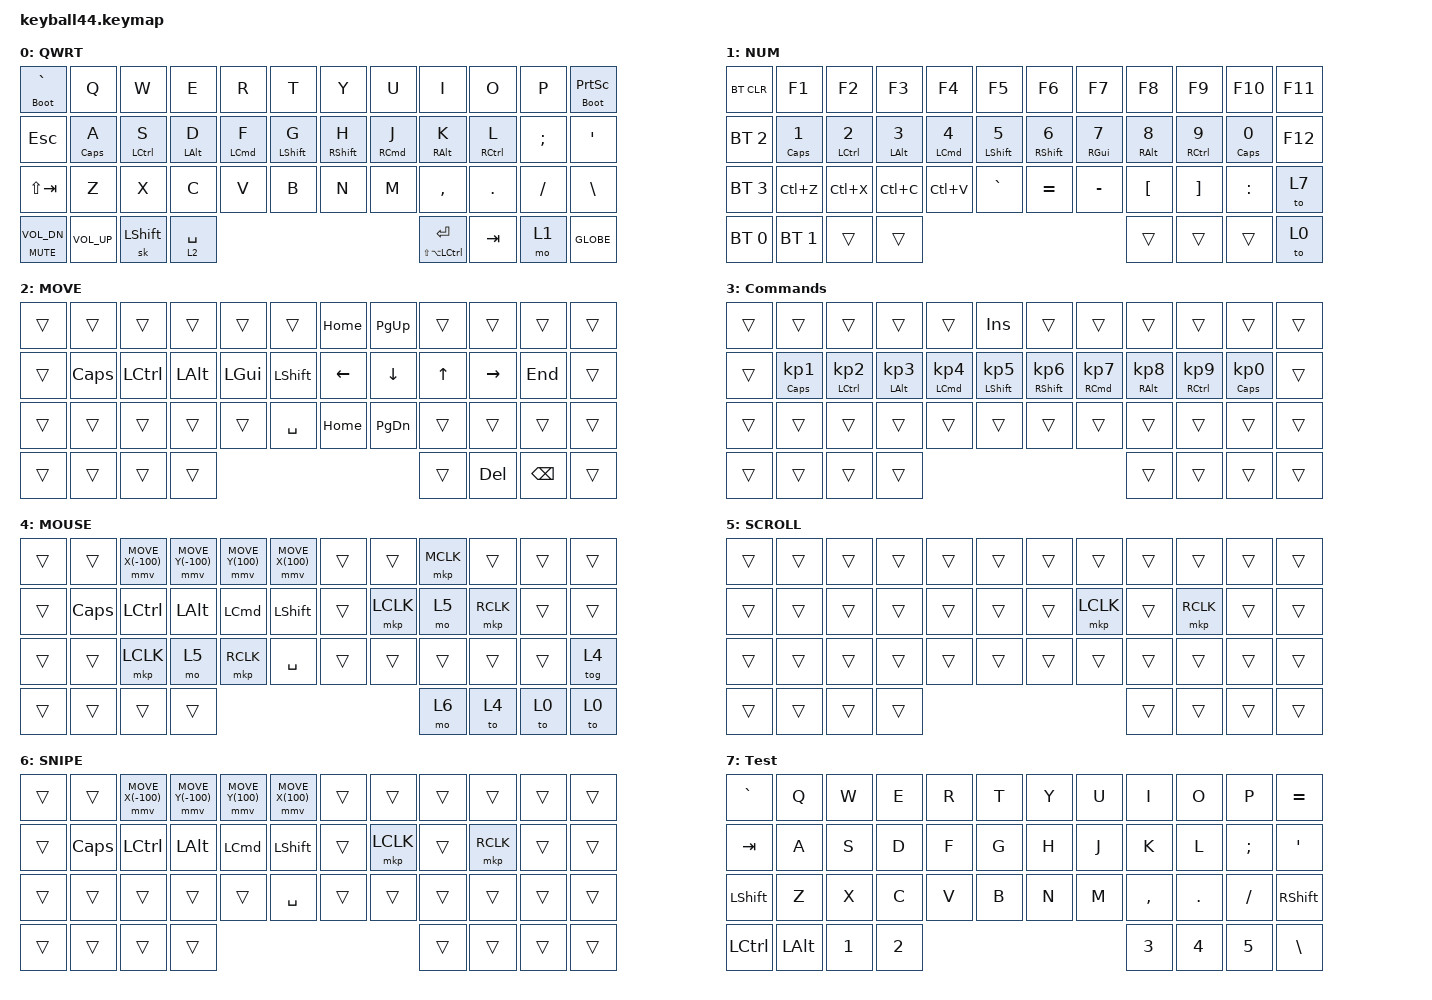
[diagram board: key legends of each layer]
#define DEFAULT 0
#define NUM     1
#define SYM     2
#define FUN     3
#define MOUSE   4
#define SCROLL  5
#define SNIPE   6

#include <behaviors/mouse_keys.dtsi>
#include <dt-bindings/zmk/mouse.h>
#include <behaviors.dtsi>
#include <dt-bindings/zmk/bt.h>
#include <dt-bindings/zmk/keys.h>
#include <dt-bindings/zmk/pointing.h>

&lt {
    tapping-term-ms = <300>;
    flavor = "balanced";
    quick-tap-ms = <200>;
};

&mt {
    tapping-term-ms = <300>;
    flavor = "tap-preferred";
    quick-tap-ms = <175>;
};

&caps_word { continue-list = <UNDERSCORE MINUS>; };

/ {
    // custom shift using mod-morph 

    behaviors {
        cmqus: comma_question {
            compatible = "zmk,behavior-mod-morph";
            label = "COMMA_QUESTION";
            #binding-cells = <0>;
            bindings = <&kp COMMA>, <&kp QUESTION>;

            mods = <(MOD_LSFT|MOD_RSFT)>;
        };

        dtsmi: dot_semi {
            compatible = "zmk,behavior-mod-morph";
            label = "DOT_SEMI";
            #binding-cells = <0>;
            bindings = <&kp DOT>, <&kp SEMI>;

            mods = <(MOD_LSFT|MOD_RSFT)>;
        };

        lmt: lmt {
            compatible = "zmk,behavior-hold-tap";
            label = "Long Mod Tap";
            bindings = <&kp>, <&kp>;

            #binding-cells = <2>;
            tapping-term-ms = <750>;
            quick-tap-ms = <300>;
            flavor = "tap-preferred";
        };

        bmt: bmt {
            compatible = "zmk,behavior-hold-tap";
            label = "bootloader-mod";
            bindings = <&bootloader>, <&kp>;

            #binding-cells = <2>;
            tapping-term-ms = <750>;
        };
    };

    combos {
        compatible = "zmk,combos";

        close-window {
            bindings = <&kp LA(F4)>;
            key-positions = <22 18>;
        };

        Mouseless {
            bindings = <&kp LS(LA(LC(F12)))>;
            key-positions = <16 19>;
        };

        panic-return {
            bindings = <&to 0>;
            key-positions = <12 23>;
        };

        Escape {
            bindings = <&kp ESCAPE>;
            key-positions = <7 8>;
        };

        quick-alt {
            bindings = <&kp RIGHT_ALT>;
            key-positions = <19 42>;
        };

        quick-quote {
            bindings = <&kp SINGLE_QUOTE>;
            key-positions = <21 22>;
        };

        pipe {
            bindings = <&kp PIPE>;
            key-positions = <20 21 22>;
        };

        mouseless-float {
            bindings = <&kp LS(LA(LC(F10)))>;
            key-positions = <20 15>;
        };

        mouseless-right {
            bindings = <&kp LS(LA(LC(F11)))>;
            key-positions = <19 15>;
        };

        mouseless-float-right {
            bindings = <&kp LS(LA(LC(F9)))>;
            key-positions = <16 20>;
        };
    };

    keymap {
        compatible = "zmk,keymap";

        default_layer {
            label = "QWRT";
            bindings = <
&bmt 0 GRAVE         &kp Q            &kp W               &kp E           &kp R                           &kp T                          &kp Y              &kp U                &kp I            &kp O                &kp P          &bmt 0 PRINTSCREEN
&kp ESCAPE           &mt CAPSLOCK A   &mt LEFT_CONTROL S  &mt LEFT_ALT D  &mt LEFT_COMMAND F              &mt LEFT_SHIFT G               &mt RIGHT_SHIFT H  &mt RIGHT_COMMAND J  &mt RIGHT_ALT K  &mt RIGHT_CONTROL L  &kp SEMICOLON  &kp SQT
&kp LS(TAB)          &kp Z            &kp X               &kp C           &kp V                           &kp B                          &kp N              &kp M                &kp COMMA        &kp DOT              &kp SLASH      &kp BACKSLASH
&mt C_MUTE C_VOL_DN  &kp C_VOLUME_UP  &sk LEFT_SHIFT      &lt 2 SPACE     &mt LS(LA(LEFT_CONTROL)) ENTER                        &kp TAB  &mo 1                                                                                        &kp GLOBE
            >;
        };

        number_layer {
            label = "NUM";
            bindings = <
&bt BT_CLR    &kp F1                 &kp F2                     &kp F3                 &kp F4                     &kp F5                               &kp F6                    &kp F7                  &kp F8                  &kp F9                      &kp F10                &kp F11
&bt BT_SEL 2  &mt CAPSLOCK NUMBER_1  &mt LEFT_CONTROL NUMBER_2  &mt LEFT_ALT NUMBER_3  &mt LEFT_COMMAND NUMBER_4  &mt LEFT_SHIFT NUMBER_5              &mt RIGHT_SHIFT NUMBER_6  &mt RIGHT_GUI NUMBER_7  &mt RIGHT_ALT NUMBER_8  &mt RIGHT_CONTROL NUMBER_9  &mt CAPSLOCK NUMBER_0  &kp F12
&bt BT_SEL 3  &kp LC(Z)              &kp LC(X)                  &kp LC(C)              &kp LC(V)                  &kp GRAVE                            &kp EQUAL                 &kp MINUS               &kp LEFT_BRACKET        &kp RIGHT_BRACKET           &kp COLON              &to 7
&bt BT_SEL 0  &bt BT_SEL 1           &trans                     &trans                 &trans                                                  &trans  &trans                                                                                                                       &to 0
            >;
        };

        move_layer {
            label = "MOVE";
            bindings = <
&trans  &trans        &trans            &trans        &trans        &trans                          &kp HOME        &kp PAGE_UP     &trans        &trans           &trans   &trans
&trans  &kp CAPSLOCK  &kp LEFT_CONTROL  &kp LEFT_ALT  &kp LEFT_GUI  &kp LEFT_SHIFT                  &kp LEFT_ARROW  &kp DOWN_ARROW  &kp UP_ARROW  &kp RIGHT_ARROW  &kp END  &trans
&trans  &trans        &trans            &trans        &trans        &kp SPACE                       &kp HOME        &kp PAGE_DOWN   &trans        &trans           &trans   &trans
&trans  &trans        &trans            &trans        &trans                            &kp DELETE  &kp BACKSPACE                                                           &trans
            >;
        };

        NUMPAD {
            bindings = <
&trans  &trans                    &trans                  &trans              &trans                  &kp INSERT                        &trans                 &trans                   &trans               &trans                         &trans              &trans
&trans  &mt CAPSLOCK KP_NUMBER_1  &mt LEFT_CONTROL KP_N2  &mt LEFT_ALT KP_N3  &mt LEFT_COMMAND KP_N4  &mt LEFT_SHIFT KP_N5              &mt RIGHT_SHIFT KP_N6  &mt RIGHT_COMMAND KP_N7  &mt RIGHT_ALT KP_N8  &mt RIGHT_CONTROL KP_NUMBER_9  &mt CAPSLOCK KP_N0  &trans
&trans  &trans                    &trans                  &trans              &trans                  &trans                            &trans                 &trans                   &trans               &trans                         &trans              &trans
&trans  &trans                    &trans                  &trans              &trans                                            &trans  &trans                                                                                                                  &trans
            >;

            label = "Commands";
        };

        mouse_layer {
            label = "MOUSE";
            bindings = <
&trans  &trans        &mmv MOVE_X(-100)  &mmv MOVE_Y(-100)  &mmv MOVE_Y(100)  &mmv MOVE_X(100)             &trans  &trans     &mkp MCLK  &trans     &trans  &trans
&trans  &kp CAPSLOCK  &kp LEFT_CONTROL   &kp LEFT_ALT       &kp LEFT_COMMAND  &kp LEFT_SHIFT               &trans  &mkp LCLK  &mo 5      &mkp RCLK  &trans  &trans
&trans  &trans        &mkp LCLK          &mo 5              &mkp RCLK         &kp SPACE                    &trans  &trans     &trans     &trans     &trans  &tog 4
&trans  &trans        &trans             &trans             &mo 6                                   &to 4  &to 0                                            &to 0
            >;
        };

        scroll_layer {
            label = "SCROLL";
            bindings = <
&trans  &trans  &trans  &trans  &trans  &trans              &trans  &trans     &trans  &trans     &trans  &trans
&trans  &trans  &trans  &trans  &trans  &trans              &trans  &mkp LCLK  &trans  &mkp RCLK  &trans  &trans
&trans  &trans  &trans  &trans  &trans  &trans              &trans  &trans     &trans  &trans     &trans  &trans
&trans  &trans  &trans  &trans  &trans              &trans  &trans                                        &trans
            >;
        };

        snipe_layer {
            bindings = <
&trans  &trans        &mmv MOVE_X(-100)  &mmv MOVE_Y(-100)  &mmv MOVE_Y(100)  &mmv MOVE_X(100)              &trans  &trans     &trans  &trans     &trans  &trans
&trans  &kp CAPSLOCK  &kp LEFT_CONTROL   &kp LEFT_ALT       &kp LEFT_COMMAND  &kp LEFT_SHIFT                &trans  &mkp LCLK  &trans  &mkp RCLK  &trans  &trans
&trans  &trans        &trans             &trans             &trans            &kp SPACE                     &trans  &trans     &trans  &trans     &trans  &trans
&trans  &trans        &trans             &trans             &trans                                  &trans  &trans                                        &trans
            >;

            label = "SNIPE";
        };

        test {
            bindings = <
&kp GRAVE  &kp Q     &kp W   &kp E   &kp R   &kp T              &kp Y   &kp U  &kp I      &kp O    &kp P     &kp EQUAL
&kp TAB    &kp A     &kp S   &kp D   &kp F   &kp G              &kp H   &kp J  &kp K      &kp L    &kp SEMI  &kp APOS
&kp LSHFT  &kp Z     &kp X   &kp C   &kp V   &kp B              &kp N   &kp M  &kp COMMA  &kp DOT  &kp FSLH  &kp RSHFT
&kp LCTRL  &kp LALT  &kp N1  &kp N2  &kp N3             &kp N4  &kp N5                                       &kp BSLH
            >;

            label = "Test";
        };
    };

    conditional_layers { compatible = "zmk,conditional-layers"; };
};
